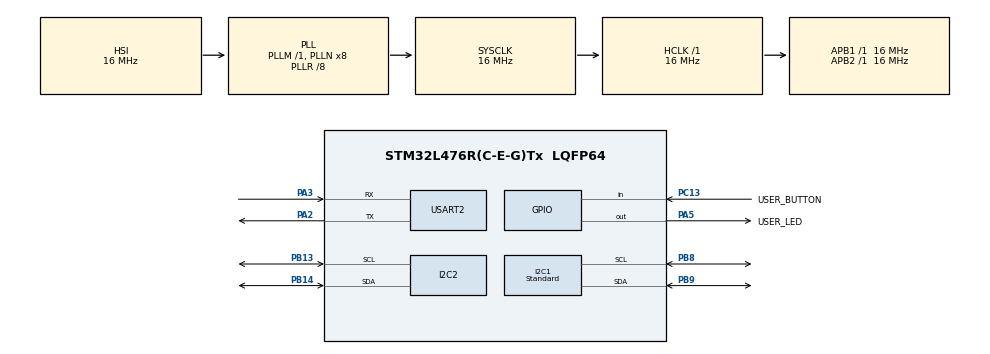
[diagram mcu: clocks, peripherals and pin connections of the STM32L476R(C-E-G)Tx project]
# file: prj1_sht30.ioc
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Dma.Request0=USART2_RX
Dma.Request1=USART2_TX
Dma.USART2_RX.0.Direction=DMA_PERIPH_TO_MEMORY
Dma.USART2_RX.0.Instance=DMA1_Channel6
Dma.USART2_RX.0.MemDataAlignment=DMA_MDATAALIGN_BYTE
Dma.USART2_RX.0.MemInc=DMA_MINC_ENABLE
Dma.USART2_RX.0.Mode=DMA_NORMAL
Dma.USART2_RX.0.PeriphDataAlignment=DMA_PDATAALIGN_BYTE
Dma.USART2_RX.0.PeriphInc=DMA_PINC_DISABLE
Dma.USART2_RX.0.Priority=DMA_PRIORITY_LOW
Dma.USART2_TX.1.Direction=DMA_MEMORY_TO_PERIPH
Dma.USART2_TX.1.Instance=DMA1_Channel7
Dma.USART2_TX.1.MemDataAlignment=DMA_MDATAALIGN_BYTE
Dma.USART2_TX.1.MemInc=DMA_MINC_ENABLE
Dma.USART2_TX.1.Mode=DMA_NORMAL
Dma.USART2_TX.1.PeriphDataAlignment=DMA_PDATAALIGN_BYTE
Dma.USART2_TX.1.PeriphInc=DMA_PINC_DISABLE
Dma.USART2_TX.1.Priority=DMA_PRIORITY_LOW
I2C1.CustomTiming=Disabled
I2C1.I2C_Coeff_DF=2
I2C1.I2C_Fall_Time=0
I2C1.I2C_Rise_Time=0
I2C1.I2C_Speed_Mode=I2C_Standard
I2C1.NoStretchMode=I2C_NOSTRETCH_DISABLE
I2C1.Timing=0x2010131D
I2C2.Timing=0x00303D5B
Mcu.Family=STM32L4
Mcu.Name=STM32L476R(C-E-G)Tx
Mcu.Package=LQFP64
NVIC.DMA1_Channel6_IRQn=true\:0\:0\:false\:false\:true\:false\:true\:true
NVIC.DMA1_Channel7_IRQn=true\:0\:0\:false\:false\:true\:false\:true\:true
NVIC.PriorityGroup=NVIC_PRIORITYGROUP_4
NVIC.RCC_IRQn=true\:0\:0\:false\:false\:true\:true\:false\:true
NVIC.TIM2_IRQn=true\:0\:0\:false\:false\:true\:true\:true\:true
NVIC.USART2_IRQn=true\:0\:0\:false\:false\:true\:true\:true\:true
PA2.Mode=Asynchronous
PA2.Signal=USART2_TX
PA3.Mode=Asynchronous
PA3.Signal=USART2_RX
PA5.GPIO_Label=USER_LED
PA5.Signal=GPIO_Output
PB13.Mode=I2C
PB13.Signal=I2C2_SCL
PB14.Mode=I2C
PB14.Signal=I2C2_SDA
PB8.GPIO_FM8=SYSCFG_FASTMODEPLUS_PB8
PB8.GPIO_Pu=GPIO_NOPULL
PB8.Mode=I2C
PB8.Signal=I2C1_SCL
PB9.GPIO_FM9=SYSCFG_FASTMODEPLUS_PB9
PB9.GPIO_Pu=GPIO_NOPULL
PB9.Mode=I2C
PB9.Signal=I2C1_SDA
PC13.GPIO_Label=USER_BUTTON
PC13.Signal=GPIO_Input
ProjectManager.HeapSize=0x200
ProjectManager.StackSize=0x400
ProjectManager.TargetToolchain=STM32CubeIDE
RCC.ADCFreq_Value=64000000
RCC.AHBFreq_Value=16000000
RCC.APB1Freq_Value=16000000
RCC.APB1TimFreq_Value=16000000
RCC.APB2Freq_Value=16000000
RCC.APB2TimFreq_Value=16000000
RCC.CortexFreq_Value=16000000
RCC.HCLKFreq_Value=16000000
RCC.HSE_VALUE=8000000
RCC.HSI_VALUE=16000000
RCC.LSE_VALUE=32768
RCC.MSI_VALUE=4000000
RCC.PLLR=RCC_PLLR_DIV8
RCC.PLLSourceVirtual=RCC_PLLSOURCE_HSI
RCC.SYSCLKFreq_VALUE=16000000
RCC.SYSCLKSource=RCC_SYSCLKSOURCE_PLLCLK
RCC.USBFreq_Value=64000000
RCC.VCOOutputFreq_Value=128000000
TIM2.AutoReloadPreload=TIM_AUTORELOAD_PRELOAD_ENABLE
TIM2.ClockDivision=TIM_CLOCKDIVISION_DIV4
TIM2.Period=4000
TIM2.Prescaler=1000
USART2.VirtualMode-Asynchronous=VM_ASYNC
VP_TIM2_VS_ClockSourceINT.Mode=Internal
board=custom

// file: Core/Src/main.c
/* USER CODE BEGIN Header */
/**
  ******************************************************************************
  * @file           : main.c
  * @brief          : Main program body
  ******************************************************************************
  * @attention
  *
  * Copyright (c) 2023 STMicroelectronics.
  * All rights reserved.
  *
  * This software is licensed under terms that can be found in the LICENSE file
  * in the root directory of this software component.
  * If no LICENSE file comes with this software, it is provided AS-IS.
  *
  ******************************************************************************
  */
/* USER CODE END Header */
#include "main.h"

/* USER CODE BEGIN Includes */
#include "sht3x.h"
#include "ssd1306.h"
#include "ssd1306_tests.h"
#include <stdbool.h>
/* USER CODE END Includes */

I2C_HandleTypeDef hi2c1;
I2C_HandleTypeDef hi2c2;

TIM_HandleTypeDef htim2;

UART_HandleTypeDef huart2;
DMA_HandleTypeDef hdma_usart2_rx;
DMA_HandleTypeDef hdma_usart2_tx;

/* USER CODE BEGIN PV */
uint8_t flag_update_leitura = 0;
/* USER CODE END PV */

void SystemClock_Config(void);
static void MX_GPIO_Init(void);
static void MX_DMA_Init(void);
static void MX_USART2_UART_Init(void);
static void MX_I2C1_Init(void);
static void MX_I2C2_Init(void);
static void MX_TIM2_Init(void);
/* USER CODE BEGIN PFP */
static bool button_press_action(void);
void update_leitura(void);
/* USER CODE END PFP */

int main(void)
{

  /* MCU Configuration--------------------------------------------------------*/

  /* Reset of all peripherals, Initializes the Flash interface and the Systick. */
  HAL_Init();

  /* Configure the system clock */
  SystemClock_Config();

  /* Initialize all configured peripherals */
  MX_GPIO_Init();
  MX_DMA_Init();
  MX_USART2_UART_Init();
  MX_I2C1_Init();
  MX_I2C2_Init();
  MX_TIM2_Init();
  /* USER CODE BEGIN 2 */

//  while (sht3x_probe(SHT3X_I2C_ADDR_DFLT) != STATUS_OK) {
//      printf("SHT sensor probing failed\n");
//  }
  /* USER CODE END 2 */

  /* Infinite loop */
  /* USER CODE BEGIN WHILE */
  bool pressed = false;
  //int16_t probe_ret;
  uint16_t status_reg;

  ssd1306_Init();
  ssd1306_Fill(Black);
  HAL_TIM_Base_Start_IT(&htim2);
  while (1)
  {
	  pressed = button_press_action();
	  if (pressed){
		 HAL_Delay(100);
		 //probe_ret = sht3x_get_status(&hi2c1, SHT3X_I2C_ADDR_DFLT, &status_reg );
//		 printf("probe_ret %04X, %04X\n", probe_ret, status_reg);

		 //probe_ret = sht3x_measure(&hi2c1, SHT3X_I2C_ADDR_DFLT << 1);
		 //HAL_Delay(100);
		 //int32_t temp, umidade;
		 //probe_ret = sht3x_read(&hi2c1, SHT3X_I2C_ADDR_DFLT << 1, &temp, &umidade );
	     //printf("probe_ret %04X, %d, %d\n", probe_ret, temp, umidade);

	     //ssd1306_SetCursor(2, 2);
	     //ssd1306_write_i32(temp,3);
	     //ssd1306_WriteChar('C', Font_7x10, White);
	     //ssd1306_SetCursor(2, 20);
	     //ssd1306_write_i32(umidade,3);
	     //ssd1306_WriteChar('%', Font_7x10, White);
	     //ssd1306_UpdateScreen();

	     update_leitura();
	  }

	  if (flag_update_leitura == 1){
		  update_leitura();
		  flag_update_leitura = 0;

	  }
    /* USER CODE END WHILE */

  }
}

void SystemClock_Config(void)
{
  RCC_OscInitTypeDef RCC_OscInitStruct = {0};
  RCC_ClkInitTypeDef RCC_ClkInitStruct = {0};

  /** Configure the main internal regulator output voltage
  */
  if (HAL_PWREx_ControlVoltageScaling(PWR_REGULATOR_VOLTAGE_SCALE1) != HAL_OK)
  {
    Error_Handler();
  }

  /** Initializes the RCC Oscillators according to the specified parameters
  * in the RCC_OscInitTypeDef structure.
  */
  RCC_OscInitStruct.OscillatorType = RCC_OSCILLATORTYPE_HSI;
  RCC_OscInitStruct.HSIState = RCC_HSI_ON;
  RCC_OscInitStruct.HSICalibrationValue = RCC_HSICALIBRATION_DEFAULT;
  RCC_OscInitStruct.PLL.PLLState = RCC_PLL_ON;
  RCC_OscInitStruct.PLL.PLLSource = RCC_PLLSOURCE_HSI;
  RCC_OscInitStruct.PLL.PLLM = 1;
  RCC_OscInitStruct.PLL.PLLN = 8;
  RCC_OscInitStruct.PLL.PLLP = RCC_PLLP_DIV7;
  RCC_OscInitStruct.PLL.PLLQ = RCC_PLLQ_DIV2;
  RCC_OscInitStruct.PLL.PLLR = RCC_PLLR_DIV8;
  if (HAL_RCC_OscConfig(&RCC_OscInitStruct) != HAL_OK)
  {
    Error_Handler();
  }

  /** Initializes the CPU, AHB and APB buses clocks
  */
  RCC_ClkInitStruct.ClockType = RCC_CLOCKTYPE_HCLK|RCC_CLOCKTYPE_SYSCLK
                              |RCC_CLOCKTYPE_PCLK1|RCC_CLOCKTYPE_PCLK2;
  RCC_ClkInitStruct.SYSCLKSource = RCC_SYSCLKSOURCE_PLLCLK;
  RCC_ClkInitStruct.AHBCLKDivider = RCC_SYSCLK_DIV1;
  RCC_ClkInitStruct.APB1CLKDivider = RCC_HCLK_DIV1;
  RCC_ClkInitStruct.APB2CLKDivider = RCC_HCLK_DIV1;

  if (HAL_RCC_ClockConfig(&RCC_ClkInitStruct, FLASH_LATENCY_0) != HAL_OK)
  {
    Error_Handler();
  }
}

static void MX_I2C1_Init(void)
{

  hi2c1.Instance = I2C1;
  hi2c1.Init.Timing = 0x2010131D;
  hi2c1.Init.OwnAddress1 = 0;
  hi2c1.Init.AddressingMode = I2C_ADDRESSINGMODE_7BIT;
  hi2c1.Init.DualAddressMode = I2C_DUALADDRESS_DISABLE;
  hi2c1.Init.OwnAddress2 = 0;
  hi2c1.Init.OwnAddress2Masks = I2C_OA2_NOMASK;
  hi2c1.Init.GeneralCallMode = I2C_GENERALCALL_DISABLE;
  hi2c1.Init.NoStretchMode = I2C_NOSTRETCH_DISABLE;
  if (HAL_I2C_Init(&hi2c1) != HAL_OK)
  {
    Error_Handler();
  }

  /** Configure Analogue filter
  */
  if (HAL_I2CEx_ConfigAnalogFilter(&hi2c1, I2C_ANALOGFILTER_ENABLE) != HAL_OK)
  {
    Error_Handler();
  }

  /** Configure Digital filter
  */
  if (HAL_I2CEx_ConfigDigitalFilter(&hi2c1, 2) != HAL_OK)
  {
    Error_Handler();
  }

}

static void MX_I2C2_Init(void)
{

  hi2c2.Instance = I2C2;
  hi2c2.Init.Timing = 0x00303D5B;
  hi2c2.Init.OwnAddress1 = 0;
  hi2c2.Init.AddressingMode = I2C_ADDRESSINGMODE_7BIT;
  hi2c2.Init.DualAddressMode = I2C_DUALADDRESS_DISABLE;
  hi2c2.Init.OwnAddress2 = 0;
  hi2c2.Init.OwnAddress2Masks = I2C_OA2_NOMASK;
  hi2c2.Init.GeneralCallMode = I2C_GENERALCALL_DISABLE;
  hi2c2.Init.NoStretchMode = I2C_NOSTRETCH_DISABLE;
  if (HAL_I2C_Init(&hi2c2) != HAL_OK)
  {
    Error_Handler();
  }

  /** Configure Analogue filter
  */
  if (HAL_I2CEx_ConfigAnalogFilter(&hi2c2, I2C_ANALOGFILTER_ENABLE) != HAL_OK)
  {
    Error_Handler();
  }

  /** Configure Digital filter
  */
  if (HAL_I2CEx_ConfigDigitalFilter(&hi2c2, 0) != HAL_OK)
  {
    Error_Handler();
  }

}

static void MX_TIM2_Init(void)
{

  TIM_ClockConfigTypeDef sClockSourceConfig = {0};
  TIM_MasterConfigTypeDef sMasterConfig = {0};

  htim2.Instance = TIM2;
  htim2.Init.Prescaler = 1000;
  htim2.Init.CounterMode = TIM_COUNTERMODE_UP;
  htim2.Init.Period = 4000;
  htim2.Init.ClockDivision = TIM_CLOCKDIVISION_DIV4;
  htim2.Init.AutoReloadPreload = TIM_AUTORELOAD_PRELOAD_ENABLE;
  if (HAL_TIM_Base_Init(&htim2) != HAL_OK)
  {
    Error_Handler();
  }
  sClockSourceConfig.ClockSource = TIM_CLOCKSOURCE_INTERNAL;
  if (HAL_TIM_ConfigClockSource(&htim2, &sClockSourceConfig) != HAL_OK)
  {
    Error_Handler();
  }
  sMasterConfig.MasterOutputTrigger = TIM_TRGO_RESET;
  sMasterConfig.MasterSlaveMode = TIM_MASTERSLAVEMODE_DISABLE;
  if (HAL_TIMEx_MasterConfigSynchronization(&htim2, &sMasterConfig) != HAL_OK)
  {
    Error_Handler();
  }

}

static void MX_USART2_UART_Init(void)
{

  huart2.Instance = USART2;
  huart2.Init.BaudRate = 115200;
  huart2.Init.WordLength = UART_WORDLENGTH_8B;
  huart2.Init.StopBits = UART_STOPBITS_1;
  huart2.Init.Parity = UART_PARITY_NONE;
  huart2.Init.Mode = UART_MODE_TX_RX;
  huart2.Init.HwFlowCtl = UART_HWCONTROL_NONE;
  huart2.Init.OverSampling = UART_OVERSAMPLING_16;
  huart2.Init.OneBitSampling = UART_ONE_BIT_SAMPLE_DISABLE;
  huart2.AdvancedInit.AdvFeatureInit = UART_ADVFEATURE_NO_INIT;
  if (HAL_UART_Init(&huart2) != HAL_OK)
  {
    Error_Handler();
  }

}

static void MX_DMA_Init(void)
{

  /* DMA controller clock enable */
  __HAL_RCC_DMA1_CLK_ENABLE();

  /* DMA interrupt init */
  /* DMA1_Channel6_IRQn interrupt configuration */
  HAL_NVIC_SetPriority(DMA1_Channel6_IRQn, 0, 0);
  HAL_NVIC_EnableIRQ(DMA1_Channel6_IRQn);
  /* DMA1_Channel7_IRQn interrupt configuration */
  HAL_NVIC_SetPriority(DMA1_Channel7_IRQn, 0, 0);
  HAL_NVIC_EnableIRQ(DMA1_Channel7_IRQn);

}

static void MX_GPIO_Init(void)
{
  GPIO_InitTypeDef GPIO_InitStruct = {0};

  /* GPIO Ports Clock Enable */
  __HAL_RCC_GPIOC_CLK_ENABLE();
  __HAL_RCC_GPIOA_CLK_ENABLE();
  __HAL_RCC_GPIOB_CLK_ENABLE();

  /*Configure GPIO pin Output Level */
  HAL_GPIO_WritePin(USER_LED_GPIO_Port, USER_LED_Pin, GPIO_PIN_RESET);

  /*Configure GPIO pin : USER_BUTTON_Pin */
  GPIO_InitStruct.Pin = USER_BUTTON_Pin;
  GPIO_InitStruct.Mode = GPIO_MODE_INPUT;
  GPIO_InitStruct.Pull = GPIO_NOPULL;
  HAL_GPIO_Init(USER_BUTTON_GPIO_Port, &GPIO_InitStruct);

  /*Configure GPIO pin : USER_LED_Pin */
  GPIO_InitStruct.Pin = USER_LED_Pin;
  GPIO_InitStruct.Mode = GPIO_MODE_OUTPUT_PP;
  GPIO_InitStruct.Pull = GPIO_NOPULL;
  GPIO_InitStruct.Speed = GPIO_SPEED_FREQ_LOW;
  HAL_GPIO_Init(USER_LED_GPIO_Port, &GPIO_InitStruct);

}

/* USER CODE BEGIN 4 */
bool button_press_action(void)
{
	bool press = false;

	  if (HAL_GPIO_ReadPin(USER_BUTTON_GPIO_Port,USER_BUTTON_Pin) == GPIO_PIN_SET){
	     //HAL_GPIO_WritePin(USER_LED_GPIO_Port, USER_LED_Pin, GPIO_PIN_RESET);
	     press = false;
	  }
	  else{
		 //HAL_GPIO_WritePin(USER_LED_GPIO_Port, USER_LED_Pin, GPIO_PIN_SET);
		 press = true;
	  }

	  return press;
}

void HAL_TIM_PeriodElapsedCallback(TIM_HandleTypeDef* htim)
{
    HAL_GPIO_TogglePin(USER_LED_GPIO_Port, USER_LED_Pin);
    if (flag_update_leitura == 0)
       flag_update_leitura = 1;
}

void update_leitura(void){
	 int16_t probe_ret;

	 probe_ret = sht3x_measure(&hi2c1, SHT3X_I2C_ADDR_DFLT << 1);
	 HAL_Delay(100);
	 int32_t temp, umidade;
	 probe_ret = sht3x_read(&hi2c1, SHT3X_I2C_ADDR_DFLT << 1, &temp, &umidade );
    printf("probe_ret %04X, %d, %d\n", probe_ret, temp, umidade);

    ssd1306_SetCursor(2, 2);
    ssd1306_write_i32(temp,3);
    ssd1306_WriteChar('C', Font_7x10, White);
    ssd1306_SetCursor(2, 20);
    ssd1306_write_i32(umidade,3);
    ssd1306_WriteChar('%', Font_7x10, White);
    ssd1306_UpdateScreen();
}

/* USER CODE END 4 */

void Error_Handler(void)
{
  __disable_irq();
  while (1)
  {
  }
}
